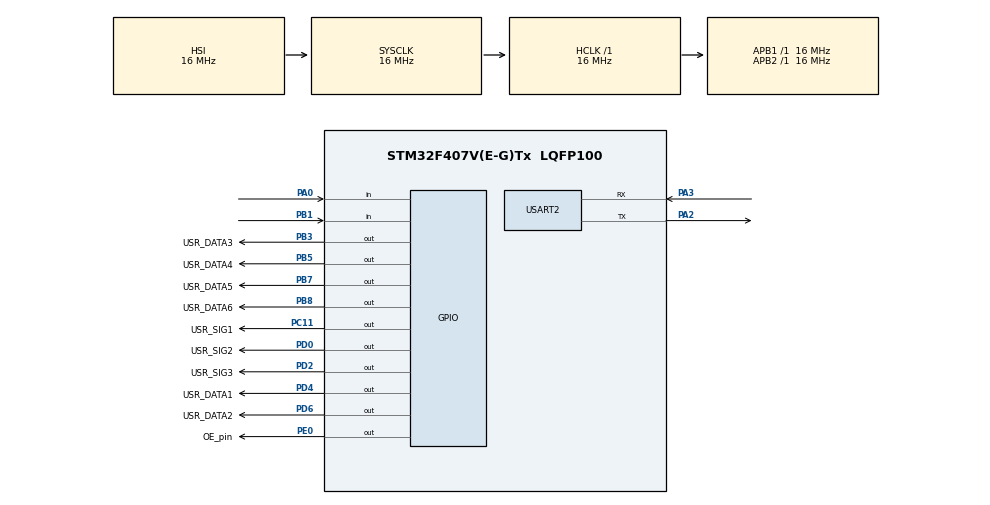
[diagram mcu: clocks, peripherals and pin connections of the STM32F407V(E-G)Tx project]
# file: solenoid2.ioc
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Mcu.Family=STM32F4
Mcu.Name=STM32F407V(E-G)Tx
Mcu.Package=LQFP100
NVIC.PriorityGroup=NVIC_PRIORITYGROUP_4
NVIC.USART2_IRQn=true\:0\:0\:false\:false\:true\:true\:true\:true
PA0-WKUP.GPIO_PuPd=GPIO_PULLUP
PA0-WKUP.Signal=GPIO_Input
PA2.Mode=Asynchronous
PA2.Signal=USART2_TX
PA3.Mode=Asynchronous
PA3.Signal=USART2_RX
PB1.GPIO_PuPd=GPIO_PULLUP
PB1.Signal=GPIO_Input
PB3.GPIO_Label=USR_DATA3
PB3.Signal=GPIO_Output
PB5.GPIO_Label=USR_DATA4
PB5.Signal=GPIO_Output
PB7.GPIO_Label=USR_DATA5
PB7.Signal=GPIO_Output
PB8.GPIO_Label=USR_DATA6
PB8.Signal=GPIO_Output
PC11.GPIO_Label=USR_SIG1
PC11.Signal=GPIO_Output
PD0.GPIO_Label=USR_SIG2
PD0.Signal=GPIO_Output
PD2.GPIO_Label=USR_SIG3
PD2.Signal=GPIO_Output
PD4.GPIO_Label=USR_DATA1
PD4.Signal=GPIO_Output
PD6.GPIO_Label=USR_DATA2
PD6.Signal=GPIO_Output
PE0.GPIO_Label=OE_pin
PE0.Signal=GPIO_Output
ProjectManager.HeapSize=0x200
ProjectManager.StackSize=0x400
ProjectManager.TargetToolchain=STM32CubeIDE
RCC.AHBFreq_Value=16000000
RCC.APB1Freq_Value=16000000
RCC.APB2Freq_Value=16000000
RCC.CortexFreq_Value=16000000
RCC.HSE_VALUE=25000000
RCC.HSI_VALUE=16000000
RCC.LSE_VALUE=32768
RCC.SYSCLKFreq_VALUE=16000000
RCC.VCOOutputFreq_Value=192000000
USART2.VirtualMode=VM_ASYNC
board=custom

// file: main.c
/* USER CODE BEGIN Header */
/*
 * 1. ?��충혁 (2023.07.27)
 * 2. solenoid_device/main.c
 * - 기능 : stm보드�???? ?��?��?��?��?�� 모터 ?��?��
 * - ?��?�� : rpi?��?�� uart?��?��?���???? ?��코딩?�� ?��?�� data 받아?�� 처리
 * 3. ?��?�� 목록
 */
/* USER CODE END Header */
#include "main.h"
#include "usart.h"
#include "gpio.h"

/* USER CODE BEGIN PD */
enum STATE_VALUE{
	INIT = 0,
	BRAILLE,
	EXIT,
	TROUBLE,
};

enum DEVICE_VALUE{
	NONE = 0,
	RPI,
};
/* USER CODE END PD */

/* USER CODE BEGIN PV */
uint8_t buf[150] = "\0";
int recieve_flag = 0;
int clear_val = 0;
uint32_t pre_time = 0;
int start_flag = 0;

// after dynamic memory
uint8_t braille_data[1000][10];
int braille_data_size = 0;
int braille_output_index = 0;

int buf_cnt = 0;
uint8_t key_value;
/* USER CODE END PV */

void SystemClock_Config(void);
/* USER CODE BEGIN PFP */

int Init_func(int *stm_state)
{
	if(recieve_flag == 0)
	{
		return 0;
	}

	if(strcmp(buf, "<pi/init>") == 0)
	{
		printf("<stm/init/ACK>\r\n");
		*stm_state = BRAILLE;
	}
	else
	{
		printf("<stm/init/NACK>\r\n");
	}
	recieve_flag = 0;
	buf_cnt = 0;
	start_flag = 1;
	return 0;
}

int Braille_func(int *stm_state)
{
	uint8_t buf_cpy[20];

	const char front_std_str[20] = "<pi/braille/";
	const int front_std_str_size = strlen(front_std_str);
	const int braille_size = 7;

	static int start_flag = 1;

	/*
	 * uint8_t braille_data[1000][10];
int braille_data_size = 0;
	 */

	if(recieve_flag == 0)
	{
		return 0;
	}

	if(start_flag == 1)
	{
		start_flag = 0;
		braille_data_size = 0;
		braille_output_index = 0;

		// To Do : 	optimization
		memset(braille_data, 0, sizeof(braille_data));
	}

	memset(buf_cpy, 0, sizeof(buf_cpy));
	strncpy(buf_cpy, buf, front_std_str_size);

	if(strcmp(buf, "<pi/braille/end>") == 0)
	{
		printf("<stm/braille/ACK>\r\n");
		buf[0] = '\0';
		start_flag = 1;
		clear_val = 1;
	}

	else if(strcmp(buf_cpy, "<pi/braille/") == 0)
	{
		// temp added braille_data_size.
		// because of, wrong protocol
		int braille_data_size_temp = 0;

		while(1)
		{
			uint8_t slash_check = buf[front_std_str_size + braille_data_size_temp * braille_size - 1];
			if(slash_check == '>')
			{
				break;
			}
			else if(slash_check != '/')
			{
				printf("<stm/braille/NACK>\r\n");
				braille_data_size_temp = 0;
				break;
			}
			strncpy(braille_data[braille_data_size + braille_data_size_temp], buf + front_std_str_size + braille_data_size_temp * braille_size, braille_size);
			braille_data_size_temp++;
		}

		braille_data_size += braille_data_size_temp;
		//braille_data_size++;

		printf("<stm/braille/ACK>\r\n");
		buf[0] = '\0';
	}
	else if(strcmp(buf, "<pi/exit>") == 0)
	{
		*stm_state = EXIT;
	}
	else
	{
		printf("<stm/braille/NACK>\r\n");
	}

	recieve_flag = 0;
	buf_cnt = 0;
	return 0;
}

int Exit_func(int *stm_state)
{

	printf("<stm/exit/ACK>\r\n");

	//dummy
	int a=0;
	while(1)
	{
		a++;
	}
	return 0;
}

int Error_func()
{

	return 0;
}

const int karno[8][3] = { {0,0,0}, {0,0,1}, {0,1,1}, {0,1,0}
,{1, 1, 0}, {1, 1, 1}, {1, 0, 1}, {1, 0, 0}
};

int print_braille_func()
{

	static int i = 0;
	static int check[8] = {0,};

	HAL_GPIO_WritePin(OE_pin_GPIO_Port, OE_pin_Pin, GPIO_PIN_RESET);

	if(clear_val == 1)
	{
		clear_val = 0;
		pre_time = HAL_GetTick();
		i = 0;
		memset(check, 0, sizeof(check));

		HAL_GPIO_WritePin(USR_SIG1_GPIO_Port, USR_SIG1_Pin, karno[7][0]);
		HAL_GPIO_WritePin(USR_SIG2_GPIO_Port, USR_SIG2_Pin, karno[7][1]);
		HAL_GPIO_WritePin(USR_SIG3_GPIO_Port, USR_SIG3_Pin, karno[7][2]);

		HAL_GPIO_WritePin(USR_DATA1_GPIO_Port, USR_DATA1_Pin, GPIO_PIN_RESET);
		HAL_GPIO_WritePin(USR_DATA2_GPIO_Port, USR_DATA2_Pin, GPIO_PIN_RESET);
		HAL_GPIO_WritePin(USR_DATA3_GPIO_Port, USR_DATA3_Pin, GPIO_PIN_RESET);
		HAL_GPIO_WritePin(USR_DATA4_GPIO_Port, USR_DATA4_Pin, GPIO_PIN_RESET);
		HAL_GPIO_WritePin(USR_DATA5_GPIO_Port, USR_DATA5_Pin, GPIO_PIN_RESET);
		HAL_GPIO_WritePin(USR_DATA6_GPIO_Port, USR_DATA6_Pin, GPIO_PIN_RESET);

		for(int j=0; j<8; j++)
		{
			HAL_Delay(10);
			HAL_GPIO_WritePin(USR_SIG1_GPIO_Port, USR_SIG1_Pin, karno[j][0]);
			HAL_GPIO_WritePin(USR_SIG2_GPIO_Port, USR_SIG2_Pin, karno[j][1]);
			HAL_GPIO_WritePin(USR_SIG3_GPIO_Port, USR_SIG3_Pin, karno[j][2]);
		}

		HAL_Delay(10);
	}

	if(start_flag == 0)
		return 0;

	i = (HAL_GetTick() - pre_time) / 500;

	if(i > 8)
	{

		for(int j=0; j<8; j++)
		{
			HAL_GPIO_WritePin(USR_DATA1_GPIO_Port, USR_DATA1_Pin, GPIO_PIN_RESET);
			HAL_GPIO_WritePin(USR_DATA2_GPIO_Port, USR_DATA2_Pin, GPIO_PIN_RESET);
			HAL_GPIO_WritePin(USR_DATA3_GPIO_Port, USR_DATA3_Pin, GPIO_PIN_RESET);
			HAL_GPIO_WritePin(USR_DATA4_GPIO_Port, USR_DATA4_Pin, GPIO_PIN_RESET);
			HAL_GPIO_WritePin(USR_DATA5_GPIO_Port, USR_DATA5_Pin, GPIO_PIN_RESET);
			HAL_GPIO_WritePin(USR_DATA6_GPIO_Port, USR_DATA6_Pin, GPIO_PIN_RESET);

			HAL_GPIO_WritePin(USR_SIG1_GPIO_Port, USR_SIG1_Pin, karno[j][0]);
			HAL_GPIO_WritePin(USR_SIG2_GPIO_Port, USR_SIG2_Pin, karno[j][1]);
			HAL_GPIO_WritePin(USR_SIG3_GPIO_Port, USR_SIG3_Pin, karno[j][2]);
		}
		return 0;
	}

	if(check[i] == 0)
	{
		check[i] = 1;

		HAL_GPIO_WritePin(USR_DATA1_GPIO_Port, USR_DATA1_Pin, GPIO_PIN_RESET);

		//USR_DATA1_GPIO_Port->BSRR = (uint32_t)USR_DATA1_Pin << 16U;
		HAL_GPIO_WritePin(USR_DATA2_GPIO_Port, USR_DATA2_Pin, GPIO_PIN_RESET);
		HAL_GPIO_WritePin(USR_DATA3_GPIO_Port, USR_DATA3_Pin, GPIO_PIN_RESET);

		HAL_GPIO_WritePin(USR_DATA4_GPIO_Port, USR_DATA4_Pin, GPIO_PIN_RESET);
		HAL_GPIO_WritePin(USR_DATA5_GPIO_Port, USR_DATA5_Pin, GPIO_PIN_RESET);
		HAL_GPIO_WritePin(USR_DATA6_GPIO_Port, USR_DATA6_Pin, GPIO_PIN_RESET);

		HAL_GPIO_WritePin(USR_SIG1_GPIO_Port, USR_SIG1_Pin, karno[(i + 6) % 8][0]);
		HAL_GPIO_WritePin(USR_SIG2_GPIO_Port, USR_SIG2_Pin, karno[(i + 6) % 8][1]);
		HAL_GPIO_WritePin(USR_SIG3_GPIO_Port, USR_SIG3_Pin, karno[(i + 6) % 8][2]);

		HAL_GPIO_WritePin(USR_SIG1_GPIO_Port, USR_SIG1_Pin, karno[(i + 7) % 8][0]);
		HAL_GPIO_WritePin(USR_SIG2_GPIO_Port, USR_SIG2_Pin, karno[(i + 7) % 8][1]);
		HAL_GPIO_WritePin(USR_SIG3_GPIO_Port, USR_SIG3_Pin, karno[(i + 7) % 8][2]);

		if(braille_data[braille_output_index + i][0] == '1')
		{
			HAL_GPIO_WritePin(USR_DATA1_GPIO_Port, USR_DATA1_Pin, GPIO_PIN_SET);
		}
		else
		{
			HAL_GPIO_WritePin(USR_DATA1_GPIO_Port, USR_DATA1_Pin, GPIO_PIN_RESET);
		}
		if(braille_data[braille_output_index + i][1] == '1')
		{
			HAL_GPIO_WritePin(USR_DATA2_GPIO_Port, USR_DATA2_Pin, GPIO_PIN_SET);
		}
		else
		{
			HAL_GPIO_WritePin(USR_DATA2_GPIO_Port, USR_DATA2_Pin, GPIO_PIN_RESET);
		}
		if(braille_data[braille_output_index + i][2] == '1')
		{
			HAL_GPIO_WritePin(USR_DATA3_GPIO_Port, USR_DATA3_Pin, GPIO_PIN_SET);
		}
		else
		{
			HAL_GPIO_WritePin(USR_DATA3_GPIO_Port, USR_DATA3_Pin, GPIO_PIN_RESET);
		}
		if(braille_data[braille_output_index + i][3] == '1')
		{
			HAL_GPIO_WritePin(USR_DATA4_GPIO_Port, USR_DATA4_Pin, GPIO_PIN_SET);
		}
		else
		{
			HAL_GPIO_WritePin(USR_DATA4_GPIO_Port, USR_DATA4_Pin, GPIO_PIN_RESET);
		}
		if(braille_data[braille_output_index + i][4] == '1')
		{
			HAL_GPIO_WritePin(USR_DATA5_GPIO_Port, USR_DATA5_Pin, GPIO_PIN_SET);
		}
		else
		{
			HAL_GPIO_WritePin(USR_DATA5_GPIO_Port, USR_DATA5_Pin, GPIO_PIN_RESET);
		}
		if(braille_data[braille_output_index + i][5] == '1')
		{
			HAL_GPIO_WritePin(USR_DATA6_GPIO_Port, USR_DATA6_Pin, GPIO_PIN_SET);
		}
		else
		{
			HAL_GPIO_WritePin(USR_DATA6_GPIO_Port, USR_DATA6_Pin, GPIO_PIN_RESET);
		}

		HAL_GPIO_WritePin(USR_SIG1_GPIO_Port, USR_SIG1_Pin, karno[i][0]);
		HAL_GPIO_WritePin(USR_SIG2_GPIO_Port, USR_SIG2_Pin, karno[i][1]);
		HAL_GPIO_WritePin(USR_SIG3_GPIO_Port, USR_SIG3_Pin, karno[i][2]);

	}

	/*
	 //HAL_Delay(200);

	for(int i=0; i<8; i++)
	{
		HAL_GPIO_WritePin(OE_pin_GPIO_Port, OE_pin_Pin, GPIO_PIN_SET);

		if(braille_data[braille_output_index + i][0] == '1')
		{
			HAL_GPIO_WritePin(USR_DATA1_GPIO_Port, USR_DATA1_Pin, GPIO_PIN_SET);
		}
		else
		{
			HAL_GPIO_WritePin(USR_DATA1_GPIO_Port, USR_DATA1_Pin, GPIO_PIN_RESET);
		}
		if(braille_data[braille_output_index + i][1] == '1')
		{
			HAL_GPIO_WritePin(USR_DATA2_GPIO_Port, USR_DATA2_Pin, GPIO_PIN_SET);
		}
		else
		{
			HAL_GPIO_WritePin(USR_DATA2_GPIO_Port, USR_DATA2_Pin, GPIO_PIN_RESET);
		}
		if(braille_data[braille_output_index + i][2] == '1')
		{
			HAL_GPIO_WritePin(USR_DATA3_GPIO_Port, USR_DATA3_Pin, GPIO_PIN_SET);
		}
		else
		{
			HAL_GPIO_WritePin(USR_DATA3_GPIO_Port, USR_DATA3_Pin, GPIO_PIN_RESET);
		}
		if(braille_data[braille_output_index + i][3] == '1')
		{
			HAL_GPIO_WritePin(USR_DATA4_GPIO_Port, USR_DATA4_Pin, GPIO_PIN_SET);
		}
		else
		{
			HAL_GPIO_WritePin(USR_DATA4_GPIO_Port, USR_DATA4_Pin, GPIO_PIN_RESET);
		}
		if(braille_data[braille_output_index + i][4] == '1')
		{
			HAL_GPIO_WritePin(USR_DATA5_GPIO_Port, USR_DATA5_Pin, GPIO_PIN_SET);
		}
		else
		{
			HAL_GPIO_WritePin(USR_DATA5_GPIO_Port, USR_DATA5_Pin, GPIO_PIN_RESET);
		}
		if(braille_data[braille_output_index + i][5] == '1')
		{
			HAL_GPIO_WritePin(USR_DATA6_GPIO_Port, USR_DATA6_Pin, GPIO_PIN_SET);
		}
		else
		{
			HAL_GPIO_WritePin(USR_DATA6_GPIO_Port, USR_DATA6_Pin, GPIO_PIN_RESET);
		}

		HAL_GPIO_WritePin(USR_SIG1_GPIO_Port, USR_SIG1_Pin, karno[i][0]);
		HAL_GPIO_WritePin(USR_SIG2_GPIO_Port, USR_SIG2_Pin, karno[i][1]);
		HAL_GPIO_WritePin(USR_SIG3_GPIO_Port, USR_SIG3_Pin, karno[i][2]);

		HAL_GPIO_WritePin(OE_pin_GPIO_Port, OE_pin_Pin, GPIO_PIN_RESET);
		HAL_Delay(100);
	}

	*/
	return 0;
}

/* USER CODE END PFP */

/* USER CODE BEGIN 0 */
int _read(int file, char *ptr, int len){
  HAL_UART_Receive(&huart2, (uint8_t*)ptr, 1 , 0xFFFF);

  //HAL_UART_Transmit(&huart2, (uint8_t*)ptr, 1, 100);
  return 1;
}
int _write(int file, char *ptr, int len){
  HAL_UART_Transmit(&huart2, (uint8_t*)ptr, len, 100);
  return len;
}
/* USER CODE END 0 */

int main(void)
{

  /* MCU Configuration--------------------------------------------------------*/

  /* Reset of all peripherals, Initializes the Flash interface and the Systick. */
  HAL_Init();

  /* USER CODE BEGIN Init */
  int stm_state = INIT;
  /* USER CODE END Init */

  /* Configure the system clock */
  SystemClock_Config();

  /* Initialize all configured peripherals */
  MX_GPIO_Init();
  MX_USART2_UART_Init();
  /* USER CODE BEGIN 2 */

  int flag1 = 0;
  int flag2 = 0;

  HAL_UART_Receive_IT(&huart2, buf, 1);

  print_braille_func();
  /* USER CODE END 2 */

  /* Infinite loop */
  /* USER CODE BEGIN WHILE */
  while (1)
  {

	  switch(stm_state)
	  {
	  case INIT:
		  Init_func(&stm_state);
		  break;
	  case BRAILLE:
		  Braille_func(&stm_state);
		  break;
	  case EXIT:
		  Exit_func(&stm_state);
		  break;
	  case TROUBLE:
		  Error_func();
		  break;
	  default:
	  	  stm_state=TROUBLE;
	  }

	  GPIO_PinState button1 = HAL_GPIO_ReadPin(GPIOB, GPIO_PIN_1);
	  GPIO_PinState button2 = HAL_GPIO_ReadPin(GPIOA, GPIO_PIN_0);

	 if(button1 == GPIO_PIN_RESET && flag1 == 0)
	 {
		 if(braille_output_index > 7)
		 {
			 braille_output_index -= 8;
		 }
		 clear_val = 1;
		 flag1 = 1;
	 }
	 if(button1 == GPIO_PIN_SET)
	 {
		 flag1 = 0;
	 }

	 if(button2 == GPIO_PIN_RESET && flag2 == 0)
	 {
		 if(braille_output_index < braille_data_size - 1)
		 {
			 braille_output_index += 8;

		 }
		 clear_val = 1;

		 flag2 = 1;
	 }
	 if(button2 == GPIO_PIN_SET)
	 {
		 flag2 = 0;
	 }

	 print_braille_func();

	 /*
	 memset(buf, 0, sizeof(buf));
	 scanf("%s",buf);
	 printf("%s\r\n",buf);
	*/
	//HAL_GPIO_TogglePin(GPIOD, GPIO_PIN_12);
	 HAL_Delay(50);
    /* USER CODE END WHILE */

  }
}

void SystemClock_Config(void)
{
  RCC_OscInitTypeDef RCC_OscInitStruct = {0};
  RCC_ClkInitTypeDef RCC_ClkInitStruct = {0};

  /** Configure the main internal regulator output voltage
  */
  __HAL_RCC_PWR_CLK_ENABLE();
  __HAL_PWR_VOLTAGESCALING_CONFIG(PWR_REGULATOR_VOLTAGE_SCALE1);

  /** Initializes the RCC Oscillators according to the specified parameters
  * in the RCC_OscInitTypeDef structure.
  */
  RCC_OscInitStruct.OscillatorType = RCC_OSCILLATORTYPE_HSI;
  RCC_OscInitStruct.HSIState = RCC_HSI_ON;
  RCC_OscInitStruct.HSICalibrationValue = RCC_HSICALIBRATION_DEFAULT;
  RCC_OscInitStruct.PLL.PLLState = RCC_PLL_NONE;
  if (HAL_RCC_OscConfig(&RCC_OscInitStruct) != HAL_OK)
  {
    Error_Handler();
  }

  /** Initializes the CPU, AHB and APB buses clocks
  */
  RCC_ClkInitStruct.ClockType = RCC_CLOCKTYPE_HCLK|RCC_CLOCKTYPE_SYSCLK
                              |RCC_CLOCKTYPE_PCLK1|RCC_CLOCKTYPE_PCLK2;
  RCC_ClkInitStruct.SYSCLKSource = RCC_SYSCLKSOURCE_HSI;
  RCC_ClkInitStruct.AHBCLKDivider = RCC_SYSCLK_DIV1;
  RCC_ClkInitStruct.APB1CLKDivider = RCC_HCLK_DIV1;
  RCC_ClkInitStruct.APB2CLKDivider = RCC_HCLK_DIV1;

  if (HAL_RCC_ClockConfig(&RCC_ClkInitStruct, FLASH_LATENCY_0) != HAL_OK)
  {
    Error_Handler();
  }
}

/* USER CODE BEGIN 4 */
void HAL_UART_RxCpltCallback(UART_HandleTypeDef *huart)
{
	if(huart->Instance == USART2)
	{
		if(key_value != '\0')
		{
			buf[buf_cnt] = key_value;
			buf_cnt++;

		    if(buf_cnt >= 140) buf_cnt = 0;

		    if(key_value == '<')
		    {
				buf[0] = key_value;
		    	buf_cnt = 1;
		    }

		    if(key_value == '>')
		    {
		    	buf[buf_cnt] = '\0';
		    	recieve_flag = 1;
		    }
		}
		HAL_UART_Receive_IT(&huart2, &key_value, 1);
	}
}
/* USER CODE END 4 */

void Error_Handler(void)
{
  __disable_irq();
  while (1)
  {
  }
}
